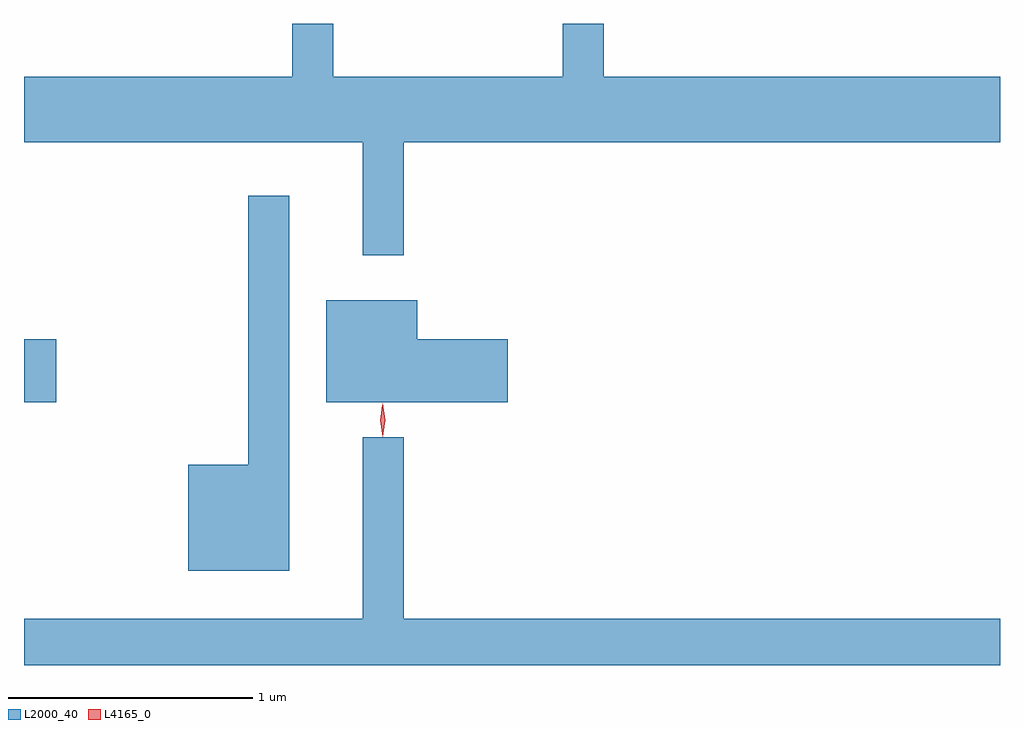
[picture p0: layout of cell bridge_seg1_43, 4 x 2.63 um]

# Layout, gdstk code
import gdstk
lib = gdstk.Library(unit=1e-6, precision=1e-09)
def R(c, l, rs):  # rectangles x0, y0, x1, y1
    for r in rs: c.add(gdstk.rectangle(r[:2], r[2:], *l))
def P(c, l, *ps):  # polygons
    for p in ps: c.add(gdstk.Polygon(p, *l))
L2000_40 = (2000, 40)
L4165_0 = (4165, 0)

bridge_seg1_43 = lib.new_cell('bridge_seg1_43')
R(bridge_seg1_43, L2000_40, [(1823.012,840.791,1823.144,841.049)])
P(bridge_seg1_43, L2000_40, [(1824.569,841.856),(1827.012,841.856),(1827.012,842.124),(1825.389,842.124),(1825.389,842.343),(1825.221,842.343),(1825.221,842.124),(1824.279,842.124),(1824.279,842.343),(1824.111,842.343),(1824.111,842.124),(1823.012,842.124),(1823.012,841.856),(1824.401,841.856),(1824.401,841.393),(1824.569,841.393)],
  [(1824.099,841.638),(1823.931,841.638),(1823.931,840.534),(1823.686,840.534),(1823.686,840.101),(1824.099,840.101)],
  [(1824.994,841.049),(1824.624,841.049),(1824.624,841.209),(1824.251,841.209),(1824.251,840.791),(1824.994,840.791)],
  [(1827.012,839.904),(1824.569,839.904),(1824.569,840.648),(1824.401,840.648),(1824.401,839.904),(1823.012,839.904),(1823.012,839.712),(1827.012,839.712)])
P(bridge_seg1_43, L4165_0, [(1824.482,840.65),(1824.472,840.718),(1824.482,840.786),(1824.482,840.786),(1824.482,840.786),(1824.492,840.718),(1824.483,840.65),(1824.483,840.65)],
  [(1824.482,840.653),(1824.472,840.716),(1824.481,840.779),(1824.482,840.78),(1824.482,840.779),(1824.492,840.716),(1824.483,840.653),(1824.483,840.653)])

lib.write_gds('bridge_seg1_43.gds')
